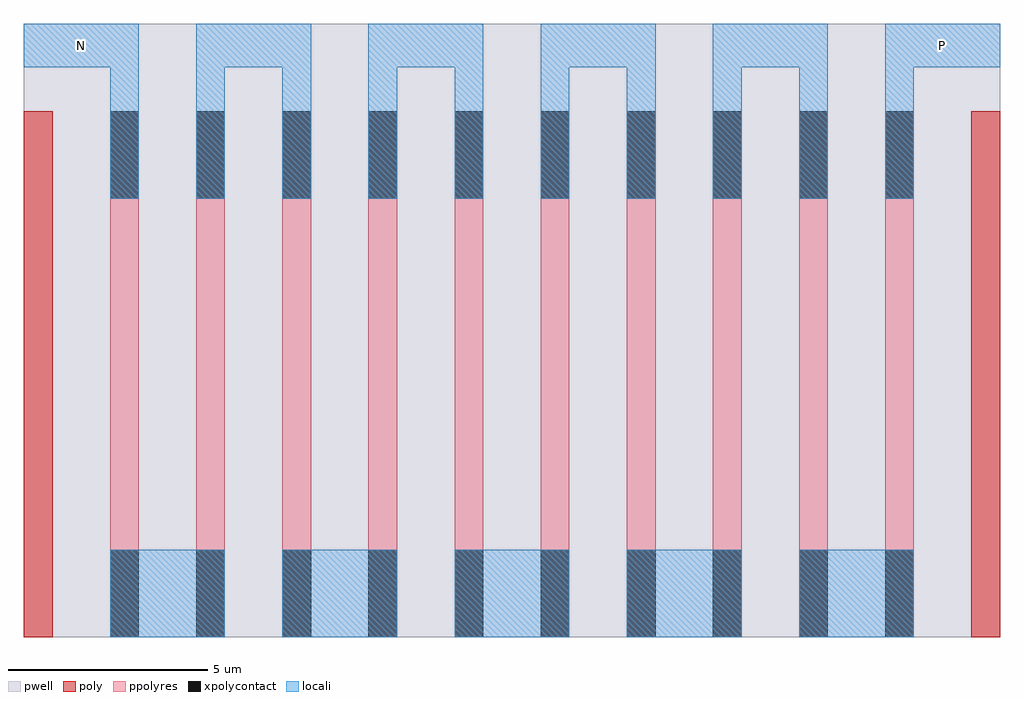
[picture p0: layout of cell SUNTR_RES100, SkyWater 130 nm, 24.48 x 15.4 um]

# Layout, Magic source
magic
tech sky130A
magscale 1 2
<< ppolyres >>
rect 360 -110 504 110
rect 792 -110 936 110
rect 1224 -110 1368 110
rect 1656 -110 1800 110
rect 2088 -110 2232 110
rect 2520 -110 2664 110
rect 2952 -110 3096 110
rect 3384 -110 3528 110
rect 3816 -110 3960 110
rect 4248 -110 4392 110
rect 360 110 504 330
rect 792 110 936 330
rect 1224 110 1368 330
rect 1656 110 1800 330
rect 2088 110 2232 330
rect 2520 110 2664 330
rect 2952 110 3096 330
rect 3384 110 3528 330
rect 3816 110 3960 330
rect 4248 110 4392 330
rect 360 330 504 550
rect 792 330 936 550
rect 1224 330 1368 550
rect 1656 330 1800 550
rect 2088 330 2232 550
rect 2520 330 2664 550
rect 2952 330 3096 550
rect 3384 330 3528 550
rect 3816 330 3960 550
rect 4248 330 4392 550
rect 360 550 504 770
rect 792 550 936 770
rect 1224 550 1368 770
rect 1656 550 1800 770
rect 2088 550 2232 770
rect 2520 550 2664 770
rect 2952 550 3096 770
rect 3384 550 3528 770
rect 3816 550 3960 770
rect 4248 550 4392 770
rect 360 770 504 990
rect 792 770 936 990
rect 1224 770 1368 990
rect 1656 770 1800 990
rect 2088 770 2232 990
rect 2520 770 2664 990
rect 2952 770 3096 990
rect 3384 770 3528 990
rect 3816 770 3960 990
rect 4248 770 4392 990
rect 360 990 504 1210
rect 792 990 936 1210
rect 1224 990 1368 1210
rect 1656 990 1800 1210
rect 2088 990 2232 1210
rect 2520 990 2664 1210
rect 2952 990 3096 1210
rect 3384 990 3528 1210
rect 3816 990 3960 1210
rect 4248 990 4392 1210
rect 360 1210 504 1430
rect 792 1210 936 1430
rect 1224 1210 1368 1430
rect 1656 1210 1800 1430
rect 2088 1210 2232 1430
rect 2520 1210 2664 1430
rect 2952 1210 3096 1430
rect 3384 1210 3528 1430
rect 3816 1210 3960 1430
rect 4248 1210 4392 1430
rect 360 1430 504 1650
rect 792 1430 936 1650
rect 1224 1430 1368 1650
rect 1656 1430 1800 1650
rect 2088 1430 2232 1650
rect 2520 1430 2664 1650
rect 2952 1430 3096 1650
rect 3384 1430 3528 1650
rect 3816 1430 3960 1650
rect 4248 1430 4392 1650
rect 360 1650 504 1870
rect 792 1650 936 1870
rect 1224 1650 1368 1870
rect 1656 1650 1800 1870
rect 2088 1650 2232 1870
rect 2520 1650 2664 1870
rect 2952 1650 3096 1870
rect 3384 1650 3528 1870
rect 3816 1650 3960 1870
rect 4248 1650 4392 1870
rect 360 1870 504 2090
rect 792 1870 936 2090
rect 1224 1870 1368 2090
rect 1656 1870 1800 2090
rect 2088 1870 2232 2090
rect 2520 1870 2664 2090
rect 2952 1870 3096 2090
rect 3384 1870 3528 2090
rect 3816 1870 3960 2090
rect 4248 1870 4392 2090
rect 360 2090 504 2310
rect 792 2090 936 2310
rect 1224 2090 1368 2310
rect 1656 2090 1800 2310
rect 2088 2090 2232 2310
rect 2520 2090 2664 2310
rect 2952 2090 3096 2310
rect 3384 2090 3528 2310
rect 3816 2090 3960 2310
rect 4248 2090 4392 2310
rect 360 2310 504 2530
rect 792 2310 936 2530
rect 1224 2310 1368 2530
rect 1656 2310 1800 2530
rect 2088 2310 2232 2530
rect 2520 2310 2664 2530
rect 2952 2310 3096 2530
rect 3384 2310 3528 2530
rect 3816 2310 3960 2530
rect 4248 2310 4392 2530
<< poly >>
rect -72 -110 72 110
rect 4680 -110 4824 110
rect -72 110 72 330
rect 4680 110 4824 330
rect -72 330 72 550
rect 4680 330 4824 550
rect -72 550 72 770
rect 4680 550 4824 770
rect -72 770 72 990
rect 4680 770 4824 990
rect -72 990 72 1210
rect 4680 990 4824 1210
rect -72 1210 72 1430
rect 4680 1210 4824 1430
rect -72 1430 72 1650
rect 4680 1430 4824 1650
rect -72 1650 72 1870
rect 4680 1650 4824 1870
rect -72 1870 72 2090
rect 4680 1870 4824 2090
rect -72 2090 72 2310
rect 4680 2090 4824 2310
rect -72 2310 72 2530
rect 4680 2310 4824 2530
<< xpolycontact >>
rect 360 -110 504 110
rect 792 -110 936 110
rect 1224 -110 1368 110
rect 1656 -110 1800 110
rect 2088 -110 2232 110
rect 2520 -110 2664 110
rect 2952 -110 3096 110
rect 3384 -110 3528 110
rect 3816 -110 3960 110
rect 4248 -110 4392 110
rect 360 110 504 330
rect 792 110 936 330
rect 1224 110 1368 330
rect 1656 110 1800 330
rect 2088 110 2232 330
rect 2520 110 2664 330
rect 2952 110 3096 330
rect 3384 110 3528 330
rect 3816 110 3960 330
rect 4248 110 4392 330
rect 360 2090 504 2310
rect 792 2090 936 2310
rect 1224 2090 1368 2310
rect 1656 2090 1800 2310
rect 2088 2090 2232 2310
rect 2520 2090 2664 2310
rect 2952 2090 3096 2310
rect 3384 2090 3528 2310
rect 3816 2090 3960 2310
rect 4248 2090 4392 2310
rect 360 2310 504 2530
rect 792 2310 936 2530
rect 1224 2310 1368 2530
rect 1656 2310 1800 2530
rect 2088 2310 2232 2530
rect 2520 2310 2664 2530
rect 2952 2310 3096 2530
rect 3384 2310 3528 2530
rect 3816 2310 3960 2530
rect 4248 2310 4392 2530
<< locali >>
rect 360 -110 936 110
rect 1224 -110 1800 110
rect 2088 -110 2664 110
rect 2952 -110 3528 110
rect 3816 -110 4392 110
rect 360 110 936 330
rect 1224 110 1800 330
rect 2088 110 2664 330
rect 2952 110 3528 330
rect 3816 110 4392 330
rect 360 2090 504 2310
rect 792 2090 936 2310
rect 1224 2090 1368 2310
rect 1656 2090 1800 2310
rect 2088 2090 2232 2310
rect 2520 2090 2664 2310
rect 2952 2090 3096 2310
rect 3384 2090 3528 2310
rect 3816 2090 3960 2310
rect 4248 2090 4392 2310
rect 360 2310 504 2530
rect 792 2310 936 2530
rect 1224 2310 1368 2530
rect 1656 2310 1800 2530
rect 2088 2310 2232 2530
rect 2520 2310 2664 2530
rect 2952 2310 3096 2530
rect 3384 2310 3528 2530
rect 3816 2310 3960 2530
rect 4248 2310 4392 2530
rect 360 2530 504 2750
rect 792 2530 936 2750
rect 1224 2530 1368 2750
rect 1656 2530 1800 2750
rect 2088 2530 2232 2750
rect 2520 2530 2664 2750
rect 2952 2530 3096 2750
rect 3384 2530 3528 2750
rect 3816 2530 3960 2750
rect 4248 2530 4392 2750
rect -72 2750 504 2970
rect -72 2750 504 2970
rect 792 2750 1368 2970
rect 1656 2750 2232 2970
rect 2520 2750 3096 2970
rect 3384 2750 3960 2970
rect 4248 2750 4824 2970
rect 4248 2750 4824 2970
<< pwell >>
rect -72 -110 4824 2970
<< labels >>
flabel locali s -72 2750 504 2970 0 FreeSans 400 0 0 0 N
port 1 nsew
flabel locali s 4248 2750 4824 2970 0 FreeSans 400 0 0 0 P
port 2 nsew
<< end >>
